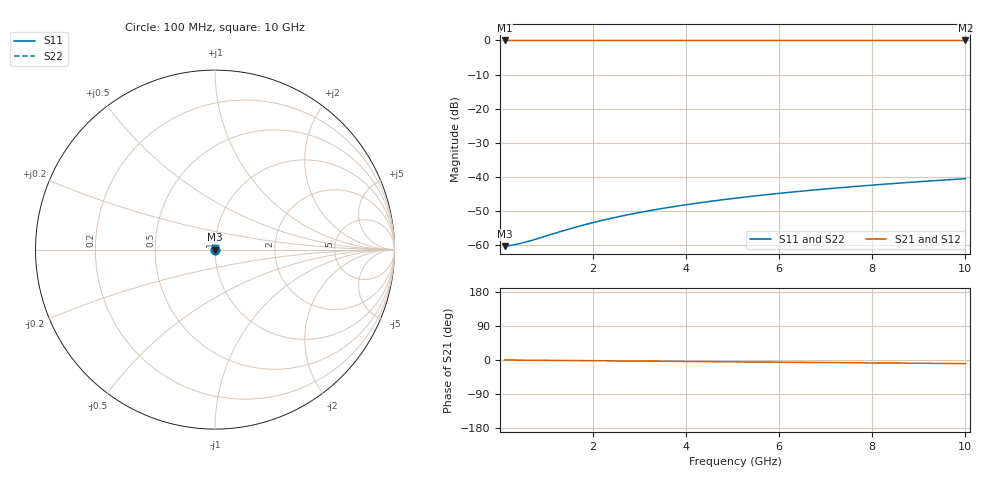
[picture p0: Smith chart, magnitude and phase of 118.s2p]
# Hz S RI R 50.00
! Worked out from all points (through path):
!   100 points, 100 MHz to 10 GHz, reference 50 ohm
!   highest |S21| = -0.01 dB at 100 MHz (marker M1); lowest = 0.0 dB at 10 GHz (marker M2)
!   group delay of S21, straight-line fit = 2.65 ps
!   lowest |S11| = -60.3 dB at 100 MHz (marker M3), VSWR 1.00, Z = 50.1 + j0.00938 ohm
!   |S11| at or under -10 dB: start of sweep to end of sweep
!   |S22| runs from -60.3 to -40.5 dB; largest |S21 - S12| = 0
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1e8  0.000965 9.36e-05  0.999 -0.00166  0.999 -0.00166  0.000965 9.36e-05
2e8  0.000971 0.000187  0.999 -0.00332  0.999 -0.00332  0.000971 0.000187
3e8  0.000976 0.000281  0.999 -0.00497  0.999 -0.00497  0.000976 0.000281
4e8  0.00098 0.000374  0.999 -0.00663  0.999 -0.00663  0.00098 0.000374
6e8  0.000988 0.000561  0.999 -0.00995  0.999 -0.00995  0.000988 0.000561
8e8  0.000996 0.000748  0.9989 -0.0133  0.9989 -0.0133  0.000996 0.000748
1.4e9  0.00102 0.00131  0.9987 -0.0232  0.9987 -0.0232  0.00102 0.00131
1.8e9  0.00105 0.00168  0.9985 -0.0299  0.9985 -0.0299  0.00105 0.00168
2.2e9  0.00108 0.00205  0.9983 -0.0365  0.9983 -0.0365  0.00108 0.00205
2.6e9  0.00111 0.00242  0.998 -0.0431  0.998 -0.0431  0.00111 0.00242
3e9  0.00115 0.00279  0.9977 -0.0498  0.9977 -0.0498  0.00115 0.00279
3.4e9  0.00119 0.00316  0.9973 -0.0564  0.9973 -0.0564  0.00119 0.00316
3.8e9  0.00123 0.00353  0.9969 -0.063  0.9969 -0.063  0.00123 0.00353
4.2e9  0.00128 0.0039  0.9965 -0.0697  0.9965 -0.0697  0.00128 0.0039
4.6e9  0.00134 0.00426  0.996 -0.0763  0.996 -0.0763  0.00134 0.00426
5.1e9  0.00142 0.00472  0.9953 -0.0846  0.9953 -0.0846  0.00142 0.00472
5.9e9  0.00156 0.00544  0.9941 -0.0978  0.9941 -0.0978  0.00156 0.00544
6.7e9  0.00171 0.00617  0.9927 -0.1111  0.9927 -0.1111  0.00171 0.00617
7.5e9  0.00189 0.00688  0.9911 -0.1243  0.9911 -0.1243  0.00189 0.00688
8.4e9  0.00211 0.00768  0.9891 -0.1392  0.9891 -0.1392  0.00211 0.00768
9.2e9  0.00233 0.00839  0.9871 -0.1525  0.9871 -0.1525  0.00233 0.00839
1e10  0.00257 0.00909  0.9849 -0.1657  0.9849 -0.1657  0.00257 0.00909
